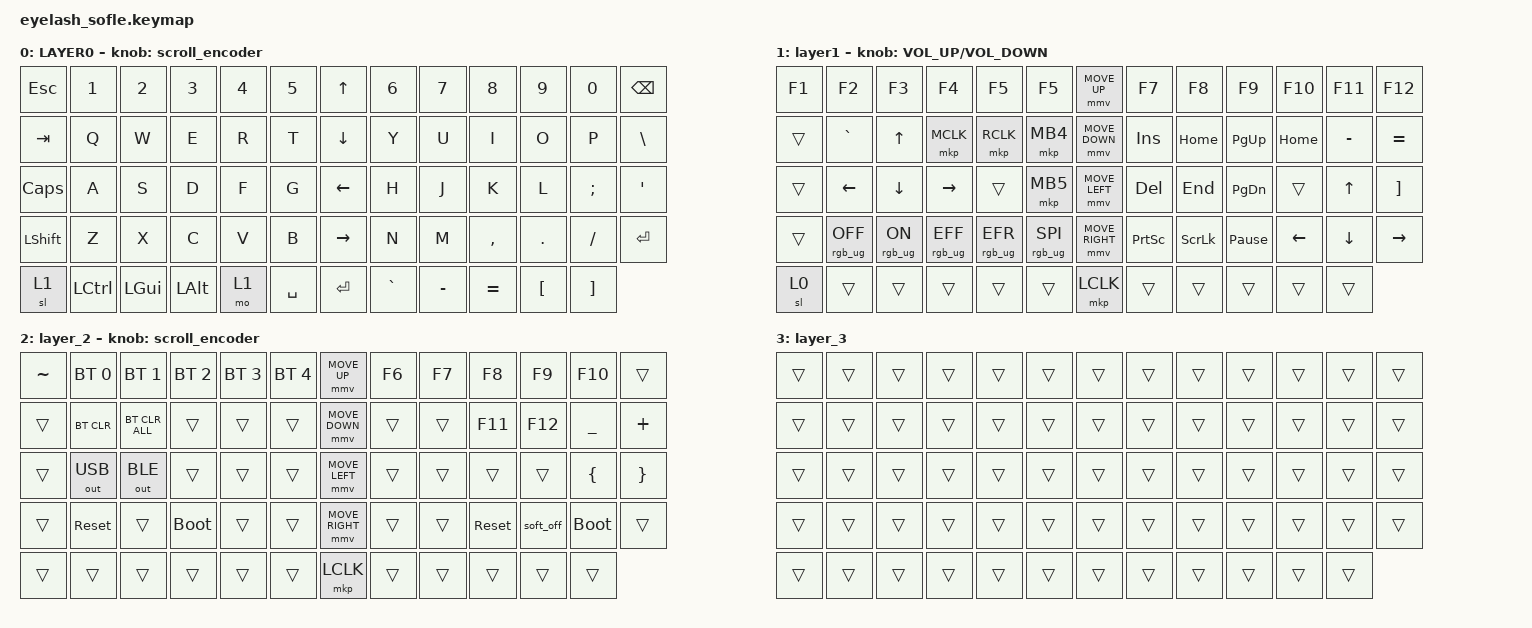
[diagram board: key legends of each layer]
#define ZMK_POINTING_DEFAULT_MOVE_VAL 1200  // 600
#define ZMK_POINTING_DEFAULT_SCRL_VAL 25   // 10

#include <input/processors.dtsi>
#include <zephyr/dt-bindings/input/input-event-codes.h>
#include <behaviors.dtsi>
#include <dt-bindings/zmk/bt.h>
#include <dt-bindings/zmk/keys.h>
#include <dt-bindings/zmk/outputs.h>
#include <dt-bindings/zmk/pointing.h>
#include <dt-bindings/zmk/rgb.h>

&mmv_input_listener { input-processors = <&zip_xy_scaler 2 1>; };

&msc_input_listener { input-processors = <&zip_scroll_scaler 2 1>; };

&msc {
    acceleration-exponent = <1>;      // 0
    time-to-max-speed-ms = <100>;       // 300
    delay-ms = <0>;                   // 0
};

&mmv {
    time-to-max-speed-ms = <500>;
    acceleration-exponent = <1>;
    trigger-period-ms = <16>;
};

/ {
    scroll_encoder: scroll_encoder {
        compatible = "zmk,behavior-sensor-rotate";
        #sensor-binding-cells = <0>;
        bindings = <&msc SCRL_DOWN>, <&msc SCRL_UP>;

        tap-ms = <100>;
    };

    behaviors {
    };

    keymap {
        compatible = "zmk,keymap";

        layer0 {
            bindings = <
&kp ESC    &kp N1     &kp N2        &kp N3        &kp N4  &kp N5       &kp UP_ARROW     &kp N6     &kp N7     &kp N8     &kp N9            &kp N0             &kp BACKSPACE
&kp TAB    &kp Q      &kp W         &kp E         &kp R   &kp T        &kp DOWN_ARROW   &kp Y      &kp U      &kp I      &kp O             &kp P              &kp BSLH
&kp CAPS   &kp A      &kp S         &kp D         &kp F   &kp G        &kp LEFT_ARROW   &kp H      &kp J      &kp K      &kp L             &kp SEMI           &kp APOS
&kp LSHFT  &kp Z      &kp X         &kp C         &kp V   &kp B        &kp RIGHT_ARROW  &kp N      &kp M      &kp COMMA  &kp DOT           &kp FSLH           &kp ENTER
&sl 1      &kp LCTRL  &kp LEFT_GUI  &kp LEFT_ALT  &mo 1   &kp SPACE    &kp ENTER        &kp GRAVE  &kp MINUS  &kp EQUAL  &kp LEFT_BRACKET  &kp RIGHT_BRACKET
            >;

            sensor-bindings = <&scroll_encoder>;
            display-name = "LAYER0";
        };

        layer_1 {
            bindings = <
&kp F1  &kp F2           &kp F3          &kp F4           &kp F5           &kp F5             &mmv MOVE_UP     &kp F7           &kp F8          &kp F9           &kp F10         &kp F11         &kp F12
&trans  &kp GRAVE        &kp UP_ARROW    &mkp MCLK        &mkp RCLK        &mkp MB4           &mmv MOVE_DOWN   &kp INS          &kp HOME        &kp PG_UP        &kp HOME        &kp MINUS       &kp EQUAL
&trans  &kp LEFT_ARROW   &kp DOWN_ARROW  &kp RIGHT_ARROW  &trans           &mkp MB5           &mmv MOVE_LEFT   &kp DEL          &kp END         &kp PAGE_DOWN    &trans          &kp UP_ARROW    &kp RIGHT_BRACKET
&trans  &rgb_ug RGB_OFF  &rgb_ug RGB_ON  &rgb_ug RGB_EFF  &rgb_ug RGB_EFR  &rgb_ug RGB_SPI    &mmv MOVE_RIGHT  &kp PRINTSCREEN  &kp SCROLLLOCK  &kp PAUSE_BREAK  &kp LEFT_ARROW  &kp DOWN_ARROW  &kp RIGHT_ARROW
&sl 0   &trans           &trans          &trans           &trans           &trans             &mkp LCLK        &trans           &trans          &trans           &trans          &trans
            >;

            display-name = "layer1";
            sensor-bindings = <&inc_dec_kp C_VOLUME_UP C_VOLUME_DOWN>;
        };

        layer_2 {
            bindings = <
&kp TILDE  &bt BT_SEL 0  &bt BT_SEL 1    &bt BT_SEL 2  &bt BT_SEL 3  &bt BT_SEL 4    &mmv MOVE_UP     &kp F6  &kp F7  &kp F8      &kp F9     &kp F10      &trans
&trans     &bt BT_CLR    &bt BT_CLR_ALL  &trans        &trans        &trans          &mmv MOVE_DOWN   &trans  &trans  &kp F11     &kp F12    &kp UNDER    &kp PLUS
&trans     &out OUT_USB  &out OUT_BLE    &trans        &trans        &trans          &mmv MOVE_LEFT   &trans  &trans  &trans      &trans     &kp LBRC     &kp RBRC
&trans     &sys_reset    &trans          &bootloader   &trans        &trans          &mmv MOVE_RIGHT  &trans  &trans  &sys_reset  &soft_off  &bootloader  &trans
&trans     &trans        &trans          &trans        &trans        &trans          &mkp LCLK        &trans  &trans  &trans      &trans     &trans
            >;

            sensor-bindings = <&scroll_encoder>;
        };

        layer_3 {
            bindings = <
&trans  &trans  &trans  &trans  &trans  &trans    &trans  &trans  &trans  &trans  &trans  &trans  &trans
&trans  &trans  &trans  &trans  &trans  &trans    &trans  &trans  &trans  &trans  &trans  &trans  &trans
&trans  &trans  &trans  &trans  &trans  &trans    &trans  &trans  &trans  &trans  &trans  &trans  &trans
&trans  &trans  &trans  &trans  &trans  &trans    &trans  &trans  &trans  &trans  &trans  &trans  &trans
&trans  &trans  &trans  &trans  &trans  &trans    &trans  &trans  &trans  &trans  &trans  &trans
            >;
        };
    };
};
